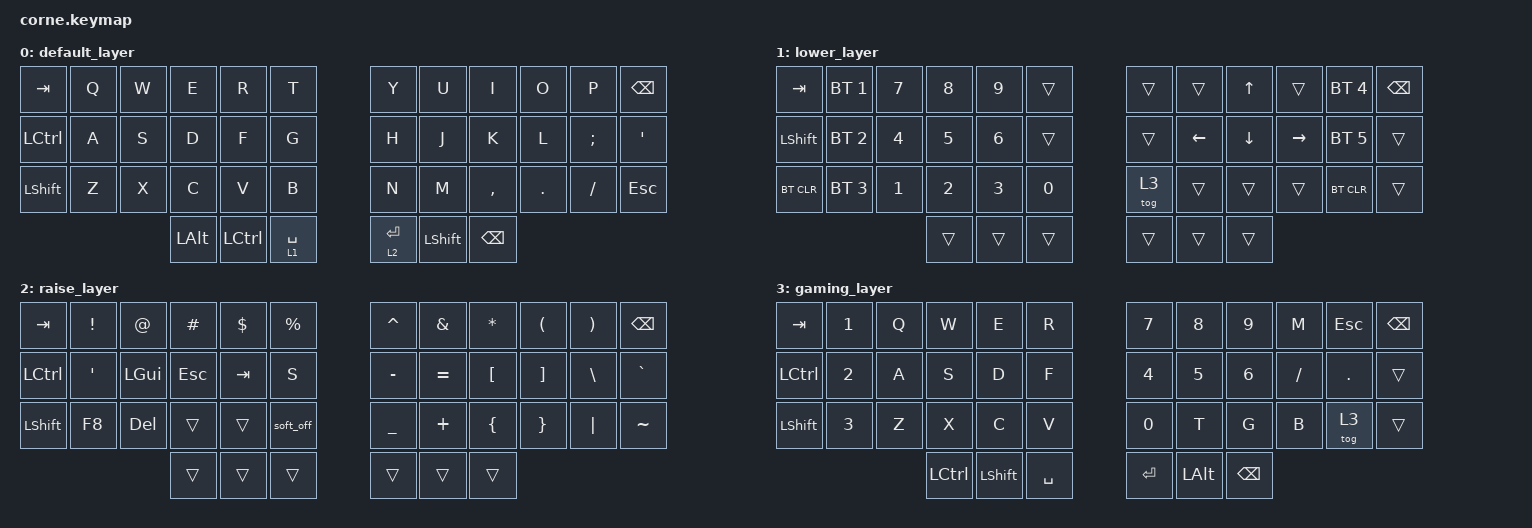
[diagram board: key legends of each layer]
/*
 * Copyright (c) 2020 The ZMK Contributors
 *
 * SPDX-License-Identifier: MIT
 */

#include <behaviors.dtsi>
#include <dt-bindings/zmk/keys.h>
#include <dt-bindings/zmk/bt.h>

/ {

        keymap {
                compatible = "zmk,keymap";
        
                default_layer {
// -----------------------------------------------------------------------------------------
// |  TAB |  Q  |  W  |  E  |  R  |  T  |   |  Y  |  U   |  I  |  O  |  P  | BSPC |
// | CTRL |  A  |  S  |  D  |  F  |  G  |   |  H  |  J   |  K  |  L  |  ;  |  '   |
// | SHFT |  Z  |  X  |  C  |  V  |  B  |   |  N  |  M   |  ,  |  .  |  /  | ESC  |
//                    | ALT | CTRL|1\SPC|   |2\ENT| SHFT | BSPC|
                        bindings = <
   &kp TAB   &kp Q &kp W &kp E &kp R &kp T   &kp Y &kp U  &kp I     &kp O   &kp P    &kp BSPC
   &kp LCTRL &kp A &kp S &kp D &kp F &kp G   &kp H &kp J  &kp K     &kp L   &kp SEMI &kp SQT
   &kp LSHFT &kp Z &kp X &kp C &kp V &kp B   &kp N &kp M  &kp COMMA &kp DOT &kp FSLH &kp ESC
            &kp LALT &kp LCTRL &lt 1 SPACE   &lt 2 RET &kp LSHFT &kp BSPC
                        >;
                };
                lower_layer {
// -----------------------------------------------------------------------------------------
// |  TAB | BT1 |  7  |  8  |  9  |     |   |     |     | UP  |     | BT4 | BSPC |
// | SHFT | BT2 |  4  |  5  |  6  |     |   |     | LFT | DWN | RGT | BT5 |      |
// | BTCLR| BT3 |  1  |  2  |  3  |  0  |   |tog 3|     |     |     |BTCLR|      |
//                    |     |     |     |   |     |     |     |                  
                        bindings = <
   &kp TAB    &bt BT_SEL 1  &kp N7   &kp N8    &kp N9    &trans         &trans   &trans    &kp UP    &trans     &bt BT_SEL 4  &kp BSPC
   &kp LSHFT  &bt BT_SEL 2  &kp N4   &kp N5    &kp N6    &trans         &trans   &kp LEFT  &kp DOWN  &kp RIGHT  &bt BT_SEL 5  &trans
   &bt BT_CLR &bt BT_SEL 3  &kp N1   &kp N2    &kp N3    &kp N0         &tog 3   &trans    &trans    &trans     &bt BT_CLR    &trans
                                     &trans    &trans    &trans         &trans   &trans    &trans
                        >;
                };
                raise_layer {
// -----------------------------------------------------------------------------------------
// |  TAB |  !  |  @  |  #  |  $  |  %  |   |  ^  |  &  |  *  |  (  |  )  | BSPC |
// | CTRL |  '  | GUI | ESC | TAB |  S  |   |  -  |  =  |  [  |  ]  |  \  |  `   |
// | SHFT | F8  | DEL |     |     | off |   |  _  |  +  |  {  |  }  | "|" |  ~   |
//                    |     |     |     |   |     | CTRL|     |
                       bindings = <
   &kp TAB     &kp EXCL   &kp AT     &kp HASH   &kp DLLR   &kp PRCNT      &kp CARET   &kp AMPS    &kp ASTRK   &kp LPAR   &kp RPAR   &kp BSPC
   &kp LCTRL   &kp SQT    &kp LGUI   &kp ESC    &kp TAB    &kp S          &kp MINUS   &kp EQUAL   &kp LBKT    &kp RBKT   &kp BSLH   &kp GRAVE
   &kp LSHFT   &kp F8     &kp DEL    &trans     &trans     &soft_off      &kp UNDER   &kp PLUS    &kp LBRC    &kp RBRC   &kp PIPE   &kp TILDE
                                     &trans     &trans     &trans         &trans      &trans      &trans
                        >;
                };

                gaming_layer {
// -----------------------------------------------------------------------------------------
// |  TAB |  1  |  Q  |  W  |  E  |  R  |   |  7  |  8  |  9  |  M  | ESC | BSPC |
// | SHFT |  2  |  A  |  S  |  D  |  F  |   |  4  |  5  |  6  |  /  |  .  |      |
// | BTCLR|  3  |  z  |  X  |  C  |  V  |   |  0  |  T  |  G  |  B  |tog 3|      |
//                    | CTRL| SHFT| SPC |   | ENT | alt | BSPC|                  
                        bindings = <
   &kp TAB   &kp N1 &kp Q &kp W &kp E &kp R   &kp N7 &kp N8  &kp N9  &kp M      &kp ESC  &kp BSPC
   &kp LCTRL &kp N2 &kp A &kp S &kp D &kp F   &kp N4 &kp N5  &kp N6  &kp FSLH   &kp DOT  &trans
   &kp LSHFT &kp N3 &kp Z &kp X &kp C &kp V   &kp N0 &kp T   &kp G   &kp B      &tog 3   &trans
             &kp LCTRL &kp LSHFT &kp SPACE   &kp RET &kp LALT &kp BSPC 
                        >;
                };
        };
};
